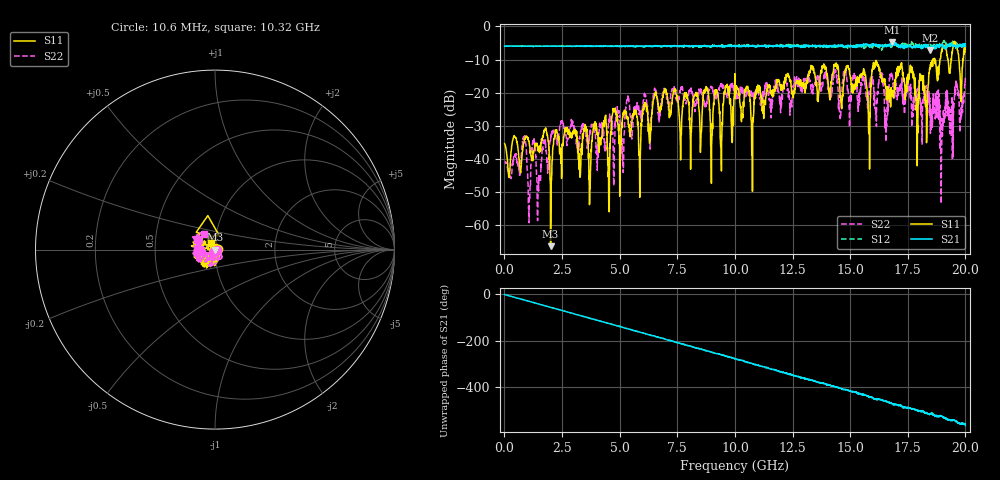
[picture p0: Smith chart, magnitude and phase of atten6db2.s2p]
! S Parameters saved at 11:44:56 06/22/07
# HZ DB S R 50
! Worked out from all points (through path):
!   1886 points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, 10.6 MHz to 20 GHz, reference 50 ohm
!   highest |S21| = -4.84 dB at 16.82 GHz (marker M1); lowest = -7.1 dB at 18.46 GHz (marker M2)
!   group delay of S21, straight-line fit = 77.5 ps
!   lowest |S11| = -66.4 dB at 2.004 GHz (marker M3), VSWR 1.00, Z = 50 + j0.0177 ohm
!   |S11| at or under -10 dB: start of sweep to 18.59 GHz; 18.67 GHz to 18.9 GHz (228.6 MHz wide, 1.22 % of centre); 19.72 GHz to 19.89 GHz (173.8 MHz wide, 0.878 % of centre)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
!   |S22| runs from -59.3 to -12.9 dB; largest |S21 - S12| = 0.22
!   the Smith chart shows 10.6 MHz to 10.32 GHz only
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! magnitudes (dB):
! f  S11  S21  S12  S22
! 10.6 MHz  -35.4  -6.0  -5.9  -41.0
! 859 MHz  -34.9  -6.0  -6.0  -33.2
! 1.071 GHz  -34.8  -6.0  -6.0  -59.3
! 1.273 GHz  -37.8  -6.0  -6.0  -34.5
! 1.485 GHz  -36.2  -6.0  -6.0  -49.7
! 1.813 GHz  -31.1  -6.0  -6.0  -37.3
! 2.004 GHz  -66.4  -5.9  -6.0  -34.5
! 2.238 GHz  -31.4  -6.0  -6.0  -33.5
! 3.351 GHz  -35.4  -6.0  -6.0  -30.2
! 6.681 GHz  -24.3  -5.9  -5.9  -25.8
! 8.526 GHz  -33.6  -5.8  -6.2  -18.6
! 8.749 GHz  -18.2  -6.0  -6.0  -23.3
! 8.993 GHz  -35.6  -6.1  -6.0  -18.4
! 10.01 GHz  -21.8  -6.0  -6.1  -19.1
! 10.75 GHz  -31.8  -5.8  -5.8  -20.4
! 13.34 GHz  -12.3  -6.1  -5.8  -19.5
! 16.67 GHz  -21.7  -5.5  -5.5  -18.2
! 16.82 GHz  -19.8  -4.8  -6.2  -15.0
! 18.28 GHz  -22.5  -6.4  -5.2  -21.3
! 18.46 GHz  -12.6  -7.1  -4.8  -22.5
! 19 GHz  -6.3  -5.6  -5.0  -33.0
! 20 GHz  -6.1  -5.4  -4.8  -15.2
